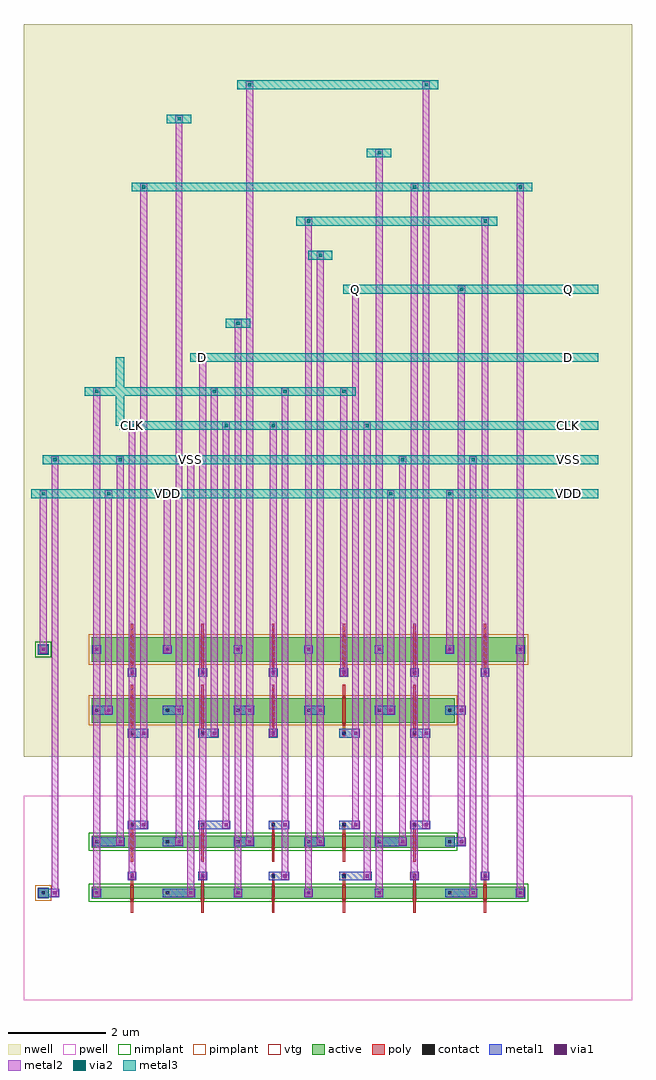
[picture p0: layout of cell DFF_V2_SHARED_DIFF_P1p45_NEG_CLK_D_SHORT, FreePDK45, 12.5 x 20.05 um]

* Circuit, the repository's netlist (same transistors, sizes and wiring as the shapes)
* cell DFF_V2_SHARED_DIFF_P1p45_NEG_CLK_D_SHORT
* pin CLK
* pin D
* pin Q
* pin VDD
* pin VSS
.SUBCKT DFF_V2_SHARED_DIFF_P1p45_NEG_CLK_D_SHORT 3 4 10 11 12
* net 3 CLK
* net 4 D
* net 10 Q
* net 11 VDD
* net 12 VSS
* device instance $1 r0 *1 1.925,7 PMOS_VTG
M$1 11 3 3 11 PMOS_VTG L=0.05U W=0.5U AS=0.4P AD=0.35P PS=2.6U PD=1.9U
* device instance $2 r0 *1 3.375,7 PMOS_VTG
M$2 1 4 11 11 PMOS_VTG L=0.05U W=0.5U AS=0.35P AD=0.35P PS=1.9U PD=1.9U
* device instance $3 r0 *1 4.825,7 PMOS_VTG
M$3 2 3 1 11 PMOS_VTG L=0.05U W=0.5U AS=0.35P AD=0.35P PS=1.9U PD=1.9U
* device instance $4 r0 *1 6.275,7 PMOS_VTG
M$4 5 3 2 11 PMOS_VTG L=0.05U W=0.5U AS=0.35P AD=0.35P PS=1.9U PD=1.9U
* device instance $5 r0 *1 7.725,7 PMOS_VTG
M$5 11 9 5 11 PMOS_VTG L=0.05U W=0.5U AS=0.35P AD=0.35P PS=1.9U PD=1.9U
* device instance $6 r0 *1 9.175,7 PMOS_VTG
M$6 9 2 11 11 PMOS_VTG L=0.05U W=0.5U AS=0.35P AD=0.4P PS=1.9U PD=2.6U
* device instance $7 r0 *1 1.925,5.75 PMOS_VTG
M$7 6 9 11 11 PMOS_VTG L=0.05U W=0.5U AS=0.4P AD=0.35P PS=2.6U PD=1.9U
* device instance $8 r0 *1 3.375,5.75 PMOS_VTG
M$8 7 3 6 11 PMOS_VTG L=0.05U W=0.5U AS=0.35P AD=0.35P PS=1.9U PD=1.9U
* device instance $9 r0 *1 4.825,5.75 PMOS_VTG
M$9 8 3 7 11 PMOS_VTG L=0.05U W=0.5U AS=0.35P AD=0.35P PS=1.9U PD=1.9U
* device instance $10 r0 *1 6.275,5.75 PMOS_VTG
M$10 11 10 8 11 PMOS_VTG L=0.05U W=0.5U AS=0.35P AD=0.35P PS=1.9U PD=1.9U
* device instance $11 r0 *1 7.725,5.75 PMOS_VTG
M$11 10 7 11 11 PMOS_VTG L=0.05U W=0.5U AS=0.35P AD=0.4P PS=1.9U PD=2.6U
* device instance $12 r0 *1 1.925,2 NMOS_VTG
M$12 12 3 3 12 NMOS_VTG L=0.05U W=0.25U AS=0.2P AD=0.175P PS=2.1U PD=1.65U
* device instance $13 r0 *1 3.375,2 NMOS_VTG
M$13 1 4 12 12 NMOS_VTG L=0.05U W=0.25U AS=0.175P AD=0.175P PS=1.65U PD=1.65U
* device instance $14 r0 *1 4.825,2 NMOS_VTG
M$14 2 3 1 12 NMOS_VTG L=0.05U W=0.25U AS=0.175P AD=0.175P PS=1.65U PD=1.65U
* device instance $15 r0 *1 6.275,2 NMOS_VTG
M$15 5 3 2 12 NMOS_VTG L=0.05U W=0.25U AS=0.175P AD=0.175P PS=1.65U PD=1.65U
* device instance $16 r0 *1 7.725,2 NMOS_VTG
M$16 12 9 5 12 NMOS_VTG L=0.05U W=0.25U AS=0.175P AD=0.175P PS=1.65U PD=1.65U
* device instance $17 r0 *1 9.175,2 NMOS_VTG
M$17 9 2 12 12 NMOS_VTG L=0.05U W=0.25U AS=0.175P AD=0.2P PS=1.65U PD=2.1U
* device instance $18 r0 *1 1.925,3.05 NMOS_VTG
M$18 6 9 12 12 NMOS_VTG L=0.05U W=0.25U AS=0.2P AD=0.175P PS=2.1U PD=1.65U
* device instance $19 r0 *1 3.375,3.05 NMOS_VTG
M$19 7 3 6 12 NMOS_VTG L=0.05U W=0.25U AS=0.175P AD=0.175P PS=1.65U PD=1.65U
* device instance $20 r0 *1 4.825,3.05 NMOS_VTG
M$20 8 3 7 12 NMOS_VTG L=0.05U W=0.25U AS=0.175P AD=0.175P PS=1.65U PD=1.65U
* device instance $21 r0 *1 6.275,3.05 NMOS_VTG
M$21 12 10 8 12 NMOS_VTG L=0.05U W=0.25U AS=0.175P AD=0.175P PS=1.65U PD=1.65U
* device instance $22 r0 *1 7.725,3.05 NMOS_VTG
M$22 10 7 12 12 NMOS_VTG L=0.05U W=0.25U AS=0.175P AD=0.2P PS=1.65U PD=2.1U
.ENDS DFF_V2_SHARED_DIFF_P1p45_NEG_CLK_D_SHORT

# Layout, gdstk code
import gdstk
lib = gdstk.Library(unit=1e-6, precision=5e-10)
def R(c, l, rs):  # rectangles x0, y0, x1, y1
    for r in rs: c.add(gdstk.rectangle(r[:2], r[2:], *l))
def A(c, l, x, y, w, h, nx, ny, dx, dy):  # array of equal rectangles
    R(c, l, [(x+i*dx, y+j*dy, x+i*dx+w, y+j*dy+h) for i in range(nx) for j in range(ny)])
active = (1, 0)
pwell = (2, 0)
nwell = (3, 0)
nimplant = (4, 0)
pimplant = (5, 0)
vtg = (6, 0)
poly = (9, 0)
contact = (10, 0)
metal1 = (11, 0)
via1 = (12, 0)
metal2 = (13, 0)
via2 = (14, 0)
metal3 = (15, 0)

dff_v2_shared_diff_p1p45 = lib.new_cell('DFF_V2_SHARED_DIFF_P1p45_NEG_CLK_D_SHORT')
R(dff_v2_shared_diff_p1p45, active, [(1.1,1.875,10,2.125), (-0.01,1.89,0.21,2.11), (1.1,2.925,8.55,3.175), (1.1,5.5,8.55,6), (1.1,6.75,10,7.25), (-0.01,6.89,0.21,7.11)])
R(dff_v2_shared_diff_p1p45, pwell, [(-0.3,-0.2,12.2,4)])
R(dff_v2_shared_diff_p1p45, nwell, [(-0.3,4.8,12.2,19.85)])
R(dff_v2_shared_diff_p1p45, nimplant, [(1.04,1.815,10.06,2.185), (1.04,2.865,8.61,3.235), (-0.06,6.84,0.26,7.16)])
R(dff_v2_shared_diff_p1p45, pimplant, [(-0.06,1.84,0.26,2.16), (1.04,5.44,8.61,6.06), (1.04,6.69,10.06,7.31)])
A(dff_v2_shared_diff_p1p45, vtg, 1.89, 1.845, 0.07, 0.31, 6, 1, 1.45, 0)
A(dff_v2_shared_diff_p1p45, vtg, 1.89, 2.895, 0.07, 0.31, 5, 1, 1.45, 0)
A(dff_v2_shared_diff_p1p45, vtg, 1.89, 5.47, 0.07, 0.56, 5, 1, 1.45, 0)
A(dff_v2_shared_diff_p1p45, vtg, 1.89, 6.72, 0.07, 0.56, 6, 1, 1.45, 0)
A(dff_v2_shared_diff_p1p45, poly, 1.9, 1.595, 0.05, 0.81, 6, 1, 1.45, 0)
A(dff_v2_shared_diff_p1p45, poly, 1.9, 2.645, 0.05, 0.81, 5, 1, 1.45, 0)
A(dff_v2_shared_diff_p1p45, poly, 1.9, 5.22, 0.05, 1.06, 5, 1, 1.45, 0)
A(dff_v2_shared_diff_p1p45, poly, 1.9, 6.47, 0.05, 1.06, 6, 1, 1.45, 0)
A(dff_v2_shared_diff_p1p45, contact, 1.17, 1.97, 0.065, 0.065, 7, 2, 1.45, 5)
A(dff_v2_shared_diff_p1p45, contact, 1.895, 2.315, 0.065, 0.065, 6, 2, 1.45, 4.185)
A(dff_v2_shared_diff_p1p45, contact, 1.17, 3.02, 0.065, 0.065, 6, 2, 1.45, 2.7)
A(dff_v2_shared_diff_p1p45, contact, 1.895, 3.365, 0.065, 0.065, 5, 2, 1.45, 1.885)
R(dff_v2_shared_diff_p1p45, contact, [(0.07,1.97,0.135,2.035), (0.07,6.97,0.135,7.035)])
A(dff_v2_shared_diff_p1p45, metal1, 2.65, 2.96, 0.24, 0.18, 3, 1, 1.45, 0)
A(dff_v2_shared_diff_p1p45, metal1, 4.825, 3.305, 0.24, 0.18, 3, 1, 1.45, 0)
A(dff_v2_shared_diff_p1p45, metal1, 1.2, 5.66, 0.24, 0.18, 6, 1, 1.45, 0)
R(dff_v2_shared_diff_p1p45, metal1, [(0,1.9,0.2,2.1), (0.1,1.91,0.34,2.09), (0.25,1.91,0.43,2.09), (1.11,1.91,1.29,2.09), (1.11,1.91,1.29,2.09), (2.56,1.91,2.74,2.09), (2.65,1.91,3.13,2.09), (3.04,1.91,3.22,2.09), (4.01,1.91,4.19,2.09), (4.01,1.91,4.19,2.09), (5.46,1.91,5.64,2.09), (5.46,1.91,5.64,2.09), (6.91,1.91,7.09,2.09), (6.91,1.91,7.09,2.09), (8.36,1.91,8.54,2.09), (8.45,1.91,8.93,2.09), (8.84,1.91,9.02,2.09), (9.81,1.91,9.99,2.09), (9.81,1.91,9.99,2.09), (1.835,2.255,2.015,2.435), (1.835,2.255,2.015,2.435), (3.285,2.255,3.465,2.435), (3.285,2.255,3.465,2.435), (4.735,2.255,4.915,2.435), (4.825,2.255,5.065,2.435), (4.975,2.255,5.155,2.435), (6.185,2.255,6.365,2.435), (6.275,2.255,6.755,2.435), (6.665,2.255,6.845,2.435), (7.635,2.255,7.815,2.435), (7.635,2.255,7.815,2.435), (9.085,2.255,9.265,2.435), (9.085,2.255,9.265,2.435), (1.11,2.96,1.29,3.14), (1.2,2.96,1.68,3.14), (1.59,2.96,1.77,3.14), (2.56,2.96,2.74,3.14), (2.8,2.96,2.98,3.14), (4.01,2.96,4.19,3.14), (4.25,2.96,4.43,3.14), (5.46,2.96,5.64,3.14), (5.7,2.96,5.88,3.14), (6.91,2.96,7.09,3.14), (7,2.96,7.48,3.14), (7.39,2.96,7.57,3.14), (8.36,2.96,8.54,3.14), (8.45,2.96,8.69,3.14), (8.6,2.96,8.78,3.14), (1.835,3.305,2.015,3.485), (1.925,3.305,2.165,3.485), (2.075,3.305,2.255,3.485), (3.285,3.305,3.465,3.485), (3.375,3.305,3.855,3.485), (3.765,3.305,3.945,3.485), (4.735,3.305,4.915,3.485), (4.975,3.305,5.155,3.485), (6.185,3.305,6.365,3.485), (6.425,3.305,6.605,3.485), (7.635,3.305,7.815,3.485), (7.875,3.305,8.055,3.485), (1.835,5.19,2.015,5.37), (1.925,5.19,2.165,5.37), (2.075,5.19,2.255,5.37), (3.285,5.19,3.465,5.37), (3.375,5.19,3.615,5.37), (3.525,5.19,3.705,5.37), (4.735,5.19,4.915,5.37), (4.735,5.19,4.915,5.37), (6.185,5.19,6.365,5.37), (6.275,5.19,6.515,5.37), (6.425,5.19,6.605,5.37), (7.635,5.19,7.815,5.37), (7.725,5.19,7.965,5.37), (7.875,5.19,8.055,5.37), (1.11,5.66,1.29,5.84), (1.35,5.66,1.53,5.84), (2.56,5.66,2.74,5.84), (2.8,5.66,2.98,5.84), (4.01,5.66,4.19,5.84), (4.25,5.66,4.43,5.84), (5.46,5.66,5.64,5.84), (5.7,5.66,5.88,5.84), (6.91,5.66,7.09,5.84), (7.15,5.66,7.33,5.84), (8.36,5.66,8.54,5.84), (8.6,5.66,8.78,5.84), (1.835,6.44,2.015,6.62), (1.835,6.44,2.015,6.62), (3.285,6.44,3.465,6.62), (3.285,6.44,3.465,6.62), (4.735,6.44,4.915,6.62), (4.735,6.44,4.915,6.62), (6.185,6.44,6.365,6.62), (6.185,6.44,6.365,6.62), (7.635,6.44,7.815,6.62), (7.635,6.44,7.815,6.62), (9.085,6.44,9.265,6.62), (9.085,6.44,9.265,6.62), (0,6.9,0.2,7.1), (0.01,6.91,0.19,7.09), (1.11,6.91,1.29,7.09), (1.11,6.91,1.29,7.09), (2.56,6.91,2.74,7.09), (2.56,6.91,2.74,7.09), (4.01,6.91,4.19,7.09), (4.01,6.91,4.19,7.09), (5.46,6.91,5.64,7.09), (5.46,6.91,5.64,7.09), (6.91,6.91,7.09,7.09), (6.91,6.91,7.09,7.09), (8.36,6.91,8.54,7.09), (8.36,6.91,8.54,7.09), (9.81,6.91,9.99,7.09), (9.81,6.91,9.99,7.09)])
A(dff_v2_shared_diff_p1p45, via1, 4.07, 1.97, 0.065, 0.065, 3, 1, 1.45, 0)
A(dff_v2_shared_diff_p1p45, via1, 3.345, 2.315, 0.065, 0.065, 3, 1, 1.69, 0)
A(dff_v2_shared_diff_p1p45, via1, 2.86, 3.02, 0.065, 0.065, 3, 1, 1.45, 0)
A(dff_v2_shared_diff_p1p45, via1, 5.035, 3.365, 0.065, 0.065, 3, 1, 1.45, 0)
A(dff_v2_shared_diff_p1p45, via1, 1.41, 5.72, 0.065, 0.065, 6, 1, 1.45, 0)
A(dff_v2_shared_diff_p1p45, via1, 1.895, 6.5, 0.065, 0.065, 6, 1, 1.45, 0)
A(dff_v2_shared_diff_p1p45, via1, 1.17, 6.97, 0.065, 0.065, 7, 1, 1.45, 0)
R(dff_v2_shared_diff_p1p45, via1, [(0.31,1.97,0.375,2.035), (1.17,1.97,1.235,2.035), (3.1,1.97,3.165,2.035), (8.9,1.97,8.965,2.035), (9.87,1.97,9.935,2.035), (1.895,2.315,1.96,2.38), (7.695,2.315,7.76,2.38), (9.145,2.315,9.21,2.38), (1.65,3.02,1.715,3.085), (7.45,3.02,7.515,3.085), (8.66,3.02,8.725,3.085), (2.135,3.365,2.2,3.43), (3.825,3.365,3.89,3.43), (2.135,5.25,2.2,5.315), (3.585,5.25,3.65,5.315), (4.795,5.25,4.86,5.315), (6.485,5.25,6.55,5.315), (7.935,5.25,8,5.315), (0.07,6.97,0.135,7.035)])
A(dff_v2_shared_diff_p1p45, metal2, 4.025, 1.925, 0.15, 0.15, 3, 1, 1.45, 0)
A(dff_v2_shared_diff_p1p45, metal2, 3.3, 2.27, 0.15, 0.15, 3, 1, 1.69, 0)
A(dff_v2_shared_diff_p1p45, metal2, 2.815, 2.975, 0.15, 0.15, 3, 1, 1.45, 0)
A(dff_v2_shared_diff_p1p45, metal2, 4.99, 3.32, 0.15, 0.15, 3, 1, 1.45, 0)
A(dff_v2_shared_diff_p1p45, metal2, 1.365, 5.675, 0.15, 0.15, 6, 1, 1.45, 0)
A(dff_v2_shared_diff_p1p45, metal2, 1.85, 6.455, 0.15, 0.15, 6, 1, 1.45, 0)
A(dff_v2_shared_diff_p1p45, metal2, 1.125, 6.925, 0.15, 0.15, 7, 1, 1.45, 0)
R(dff_v2_shared_diff_p1p45, metal2, [(0.265,1.925,0.415,2.075), (1.125,1.925,1.275,2.075), (3.055,1.925,3.205,2.075), (8.855,1.925,9.005,2.075), (9.825,1.925,9.975,2.075), (0.27,2,0.41,10.9), (1.13,2,1.27,12.3), (3.06,2,3.2,10.9), (4.03,2,4.17,13.7), (5.48,2,5.62,15.8), (6.93,2,7.07,17.2), (8.86,2,9,10.9), (9.83,2,9.97,16.5), (1.85,2.27,2,2.42), (7.65,2.27,7.8,2.42), (9.1,2.27,9.25,2.42), (1.855,2.345,1.995,11.6), (3.305,2.345,3.445,13), (4.995,2.345,5.135,12.3), (6.685,2.345,6.825,11.6), (7.655,2.345,7.795,16.5), (9.105,2.345,9.245,15.8), (1.605,2.975,1.755,3.125), (7.405,2.975,7.555,3.125), (8.615,2.975,8.765,3.125), (1.61,3.05,1.75,10.9), (2.82,3.05,2.96,17.9), (4.27,3.05,4.41,18.6), (5.72,3.05,5.86,15.1), (7.41,3.05,7.55,10.9), (8.62,3.05,8.76,14.4), (2.09,3.32,2.24,3.47), (3.78,3.32,3.93,3.47), (2.095,3.395,2.235,16.5), (3.785,3.395,3.925,11.6), (4.995,3.395,5.135,12.3), (6.445,3.395,6.585,14.4), (7.895,3.395,8.035,18.6), (2.09,5.205,2.24,5.355), (3.54,5.205,3.69,5.355), (4.75,5.205,4.9,5.355), (6.44,5.205,6.59,5.355), (7.89,5.205,8.04,5.355), (2.095,5.28,2.235,16.5), (3.545,5.28,3.685,12.3), (4.755,5.28,4.895,11.6), (6.445,5.28,6.585,14.4), (7.895,5.28,8.035,18.6), (1.37,5.75,1.51,10.2), (2.82,5.75,2.96,17.9), (4.27,5.75,4.41,18.6), (5.72,5.75,5.86,15.1), (7.17,5.75,7.31,10.2), (8.62,5.75,8.76,14.4), (1.855,6.53,1.995,11.6), (3.305,6.53,3.445,13), (4.755,6.53,4.895,11.6), (6.205,6.53,6.345,12.3), (7.655,6.53,7.795,16.5), (9.105,6.53,9.245,15.8), (0.025,6.925,0.175,7.075), (0.03,7,0.17,10.2), (1.13,7,1.27,12.3), (2.58,7,2.72,10.2), (4.03,7,4.17,13.7), (5.48,7,5.62,15.8), (6.93,7,7.07,17.2), (8.38,7,8.52,10.2), (9.83,7,9.97,16.5), (0.025,10.125,0.175,10.275), (1.365,10.125,1.515,10.275), (2.575,10.125,2.725,10.275), (7.165,10.125,7.315,10.275), (8.375,10.125,8.525,10.275), (0.265,10.825,0.415,10.975), (1.605,10.825,1.755,10.975), (3.055,10.825,3.205,10.975), (7.405,10.825,7.555,10.975), (8.855,10.825,9.005,10.975), (1.85,11.525,2,11.675), (1.85,11.525,2,11.675), (3.78,11.525,3.93,11.675), (4.75,11.525,4.9,11.675), (4.75,11.525,4.9,11.675), (6.68,11.525,6.83,11.675), (1.125,12.225,1.275,12.375), (1.125,12.225,1.275,12.375), (3.54,12.225,3.69,12.375), (4.99,12.225,5.14,12.375), (4.99,12.225,5.14,12.375), (6.2,12.225,6.35,12.375), (3.3,12.925,3.45,13.075), (3.3,12.925,3.45,13.075), (4.025,13.625,4.175,13.775), (4.025,13.625,4.175,13.775), (6.44,14.325,6.59,14.475), (6.44,14.325,6.59,14.475), (8.615,14.325,8.765,14.475), (8.615,14.325,8.765,14.475), (5.715,15.025,5.865,15.175), (5.715,15.025,5.865,15.175), (5.475,15.725,5.625,15.875), (5.475,15.725,5.625,15.875), (9.1,15.725,9.25,15.875), (9.1,15.725,9.25,15.875), (2.09,16.425,2.24,16.575), (2.09,16.425,2.24,16.575), (7.65,16.425,7.8,16.575), (7.65,16.425,7.8,16.575), (9.825,16.425,9.975,16.575), (9.825,16.425,9.975,16.575), (6.925,17.125,7.075,17.275), (6.925,17.125,7.075,17.275), (2.815,17.825,2.965,17.975), (2.815,17.825,2.965,17.975), (4.265,18.525,4.415,18.675), (4.265,18.525,4.415,18.675), (7.89,18.525,8.04,18.675), (7.89,18.525,8.04,18.675)])
R(dff_v2_shared_diff_p1p45, via2, [(0.07,10.17,0.135,10.235), (1.41,10.17,1.475,10.235), (2.62,10.17,2.685,10.235), (7.21,10.17,7.275,10.235), (8.42,10.17,8.485,10.235), (0.31,10.87,0.375,10.935), (1.65,10.87,1.715,10.935), (3.1,10.87,3.165,10.935), (7.45,10.87,7.515,10.935), (8.9,10.87,8.965,10.935), (1.895,11.57,1.96,11.635), (1.895,11.57,1.96,11.635), (3.825,11.57,3.89,11.635), (4.795,11.57,4.86,11.635), (4.795,11.57,4.86,11.635), (6.725,11.57,6.79,11.635), (1.17,12.27,1.235,12.335), (1.17,12.27,1.235,12.335), (3.585,12.27,3.65,12.335), (5.035,12.27,5.1,12.335), (5.035,12.27,5.1,12.335), (6.245,12.27,6.31,12.335), (3.345,12.97,3.41,13.035), (3.345,12.97,3.41,13.035), (4.07,13.67,4.135,13.735), (4.07,13.67,4.135,13.735), (6.485,14.37,6.55,14.435), (6.485,14.37,6.55,14.435), (8.66,14.37,8.725,14.435), (8.66,14.37,8.725,14.435), (5.76,15.07,5.825,15.135), (5.76,15.07,5.825,15.135), (5.52,15.77,5.585,15.835), (5.52,15.77,5.585,15.835), (9.145,15.77,9.21,15.835), (9.145,15.77,9.21,15.835), (2.135,16.47,2.2,16.535), (2.135,16.47,2.2,16.535), (7.695,16.47,7.76,16.535), (7.695,16.47,7.76,16.535), (9.87,16.47,9.935,16.535), (9.87,16.47,9.935,16.535), (6.97,17.17,7.035,17.235), (6.97,17.17,7.035,17.235), (2.86,17.87,2.925,17.935), (2.86,17.87,2.925,17.935), (4.31,18.57,4.375,18.635), (4.31,18.57,4.375,18.635), (7.935,18.57,8,18.635), (7.935,18.57,8,18.635)])
R(dff_v2_shared_diff_p1p45, metal3, [(-0.15,10.11,8.7,10.29), (8.7,10.11,11.5,10.29), (0.025,10.125,0.175,10.275), (1.365,10.125,1.515,10.275), (2.575,10.125,2.725,10.275), (7.165,10.125,7.315,10.275), (8.375,10.125,8.525,10.275), (0.09,10.81,9.18,10.99), (9.18,10.81,11.5,10.99), (0.265,10.825,0.415,10.975), (1.605,10.825,1.755,10.975), (3.055,10.825,3.205,10.975), (7.405,10.825,7.555,10.975), (8.855,10.825,9.005,10.975), (1.675,11.51,7.005,11.69), (7.005,11.51,11.5,11.69), (1.85,11.525,2,11.675), (1.85,11.525,2,11.675), (3.78,11.525,3.93,11.675), (4.75,11.525,4.9,11.675), (4.75,11.525,4.9,11.675), (6.68,11.525,6.83,11.675), (1.585,11.6,1.765,13), (0.95,12.21,6.525,12.39), (1.125,12.225,1.275,12.375), (1.125,12.225,1.275,12.375), (3.54,12.225,3.69,12.375), (4.99,12.225,5.14,12.375), (4.99,12.225,5.14,12.375), (6.2,12.225,6.35,12.375), (3.125,12.91,3.625,13.09), (3.625,12.91,11.5,13.09), (3.3,12.925,3.45,13.075), (3.3,12.925,3.45,13.075), (3.85,13.61,4.35,13.79), (4.025,13.625,4.175,13.775), (4.025,13.625,4.175,13.775), (6.265,14.31,8.94,14.49), (8.94,14.31,11.5,14.49), (6.44,14.325,6.59,14.475), (6.44,14.325,6.59,14.475), (8.615,14.325,8.765,14.475), (8.615,14.325,8.765,14.475), (5.54,15.01,6.04,15.19), (5.715,15.025,5.865,15.175), (5.715,15.025,5.865,15.175), (5.3,15.71,9.425,15.89), (5.475,15.725,5.625,15.875), (5.475,15.725,5.625,15.875), (9.1,15.725,9.25,15.875), (9.1,15.725,9.25,15.875), (1.915,16.41,10.15,16.59), (2.09,16.425,2.24,16.575), (2.09,16.425,2.24,16.575), (7.65,16.425,7.8,16.575), (7.65,16.425,7.8,16.575), (9.825,16.425,9.975,16.575), (9.825,16.425,9.975,16.575), (6.75,17.11,7.25,17.29), (6.925,17.125,7.075,17.275), (6.925,17.125,7.075,17.275), (2.64,17.81,3.14,17.99), (2.815,17.825,2.965,17.975), (2.815,17.825,2.965,17.975), (4.09,18.51,8.215,18.69), (4.265,18.525,4.415,18.675), (4.265,18.525,4.415,18.675), (7.89,18.525,8.04,18.675), (7.89,18.525,8.04,18.675)])
dff_v2_shared_diff_p1p45.add(gdstk.Label('VDD', (10.9,10.2), layer=15, texttype=0))
dff_v2_shared_diff_p1p45.add(gdstk.Label('VDD', (10.9,10.2), layer=15, texttype=1))
dff_v2_shared_diff_p1p45.add(gdstk.Label('VDD', (10.9,10.2), layer=15, texttype=2))
dff_v2_shared_diff_p1p45.add(gdstk.Label('VDD', (2.65,10.2), layer=13, texttype=0))
dff_v2_shared_diff_p1p45.add(gdstk.Label('VDD', (2.65,10.2), layer=13, texttype=1))
dff_v2_shared_diff_p1p45.add(gdstk.Label('VDD', (2.65,10.2), layer=13, texttype=2))
dff_v2_shared_diff_p1p45.add(gdstk.Label('VSS', (10.9,10.9), layer=15, texttype=0))
dff_v2_shared_diff_p1p45.add(gdstk.Label('VSS', (10.9,10.9), layer=15, texttype=1))
dff_v2_shared_diff_p1p45.add(gdstk.Label('VSS', (10.9,10.9), layer=15, texttype=2))
dff_v2_shared_diff_p1p45.add(gdstk.Label('VSS', (3.13,10.9), layer=13, texttype=0))
dff_v2_shared_diff_p1p45.add(gdstk.Label('VSS', (3.13,10.9), layer=13, texttype=1))
dff_v2_shared_diff_p1p45.add(gdstk.Label('VSS', (3.13,10.9), layer=13, texttype=2))
dff_v2_shared_diff_p1p45.add(gdstk.Label('CLK', (10.9,11.6), layer=15, texttype=0))
dff_v2_shared_diff_p1p45.add(gdstk.Label('CLK', (10.9,11.6), layer=15, texttype=1))
dff_v2_shared_diff_p1p45.add(gdstk.Label('CLK', (10.9,11.6), layer=15, texttype=2))
dff_v2_shared_diff_p1p45.add(gdstk.Label('CLK', (1.925,11.6), layer=13, texttype=0))
dff_v2_shared_diff_p1p45.add(gdstk.Label('CLK', (1.925,11.6), layer=13, texttype=1))
dff_v2_shared_diff_p1p45.add(gdstk.Label('CLK', (1.925,11.6), layer=13, texttype=2))
dff_v2_shared_diff_p1p45.add(gdstk.Label('D', (10.9,13), layer=15, texttype=0))
dff_v2_shared_diff_p1p45.add(gdstk.Label('D', (10.9,13), layer=15, texttype=1))
dff_v2_shared_diff_p1p45.add(gdstk.Label('D', (10.9,13), layer=15, texttype=2))
dff_v2_shared_diff_p1p45.add(gdstk.Label('D', (3.375,13), layer=13, texttype=0))
dff_v2_shared_diff_p1p45.add(gdstk.Label('D', (3.375,13), layer=13, texttype=1))
dff_v2_shared_diff_p1p45.add(gdstk.Label('D', (3.375,13), layer=13, texttype=2))
dff_v2_shared_diff_p1p45.add(gdstk.Label('Q', (10.9,14.4), layer=15, texttype=0))
dff_v2_shared_diff_p1p45.add(gdstk.Label('Q', (10.9,14.4), layer=15, texttype=1))
dff_v2_shared_diff_p1p45.add(gdstk.Label('Q', (10.9,14.4), layer=15, texttype=2))
dff_v2_shared_diff_p1p45.add(gdstk.Label('Q', (6.515,14.4), layer=13, texttype=0))
dff_v2_shared_diff_p1p45.add(gdstk.Label('Q', (6.515,14.4), layer=13, texttype=1))
dff_v2_shared_diff_p1p45.add(gdstk.Label('Q', (6.515,14.4), layer=13, texttype=2))

lib.write_gds('DFF_V2_SHARED_DIFF_P1p45_NEG_CLK_D_SHORT.gds')
